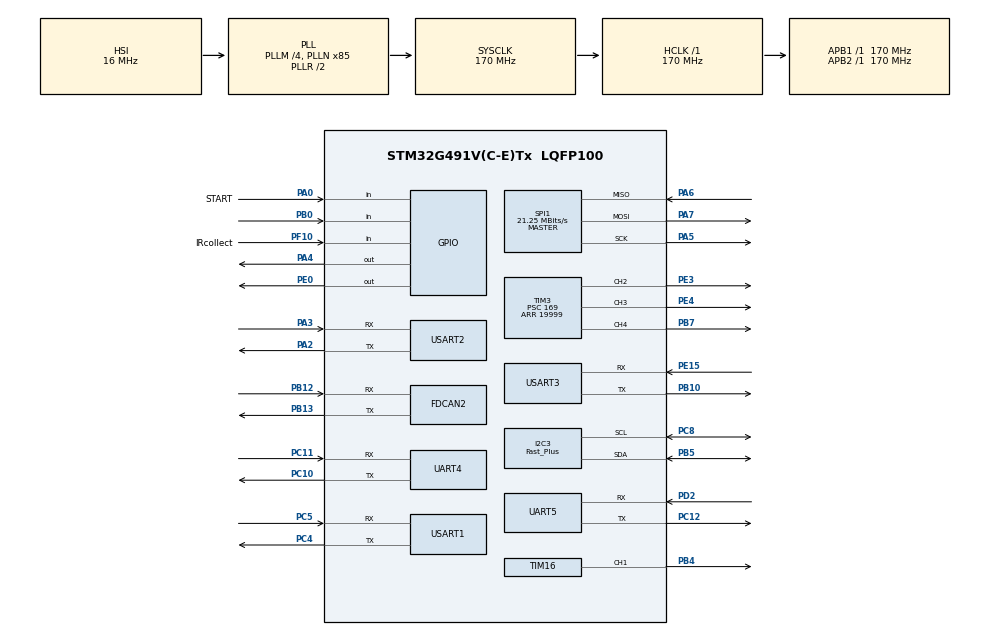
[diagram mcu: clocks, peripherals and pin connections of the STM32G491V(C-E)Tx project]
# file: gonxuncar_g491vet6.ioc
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Dma.I2C3_RX.0.Direction=DMA_PERIPH_TO_MEMORY
Dma.I2C3_RX.0.EventEnable=DISABLE
Dma.I2C3_RX.0.Instance=DMA1_Channel1
Dma.I2C3_RX.0.MemDataAlignment=DMA_MDATAALIGN_BYTE
Dma.I2C3_RX.0.MemInc=DMA_MINC_ENABLE
Dma.I2C3_RX.0.Mode=DMA_NORMAL
Dma.I2C3_RX.0.PeriphDataAlignment=DMA_PDATAALIGN_BYTE
Dma.I2C3_RX.0.PeriphInc=DMA_PINC_DISABLE
Dma.I2C3_RX.0.Polarity=HAL_DMAMUX_REQ_GEN_RISING
Dma.I2C3_RX.0.Priority=DMA_PRIORITY_MEDIUM
Dma.I2C3_RX.0.RequestNumber=1
Dma.I2C3_RX.0.SignalID=NONE
Dma.I2C3_RX.0.SyncEnable=DISABLE
Dma.I2C3_RX.0.SyncPolarity=HAL_DMAMUX_SYNC_NO_EVENT
Dma.I2C3_RX.0.SyncRequestNumber=1
Dma.I2C3_RX.0.SyncSignalID=NONE
Dma.Request0=I2C3_RX
Dma.Request1=USART3_RX
Dma.Request2=USART2_RX
Dma.Request3=USART2_TX
Dma.Request4=UART4_RX
Dma.Request5=TIM16_CH1
Dma.TIM16_CH1.5.Direction=DMA_MEMORY_TO_PERIPH
Dma.TIM16_CH1.5.EventEnable=DISABLE
Dma.TIM16_CH1.5.Instance=DMA1_Channel6
Dma.TIM16_CH1.5.MemDataAlignment=DMA_MDATAALIGN_HALFWORD
Dma.TIM16_CH1.5.MemInc=DMA_MINC_ENABLE
Dma.TIM16_CH1.5.Mode=DMA_NORMAL
Dma.TIM16_CH1.5.PeriphDataAlignment=DMA_PDATAALIGN_HALFWORD
Dma.TIM16_CH1.5.PeriphInc=DMA_PINC_DISABLE
Dma.TIM16_CH1.5.Polarity=HAL_DMAMUX_REQ_GEN_RISING
Dma.TIM16_CH1.5.Priority=DMA_PRIORITY_LOW
Dma.TIM16_CH1.5.RequestNumber=1
Dma.TIM16_CH1.5.SignalID=NONE
Dma.TIM16_CH1.5.SyncEnable=DISABLE
Dma.TIM16_CH1.5.SyncPolarity=HAL_DMAMUX_SYNC_NO_EVENT
Dma.TIM16_CH1.5.SyncRequestNumber=1
Dma.TIM16_CH1.5.SyncSignalID=NONE
Dma.UART4_RX.4.Direction=DMA_PERIPH_TO_MEMORY
Dma.UART4_RX.4.EventEnable=DISABLE
Dma.UART4_RX.4.Instance=DMA1_Channel5
Dma.UART4_RX.4.MemDataAlignment=DMA_MDATAALIGN_BYTE
Dma.UART4_RX.4.MemInc=DMA_MINC_ENABLE
Dma.UART4_RX.4.Mode=DMA_NORMAL
Dma.UART4_RX.4.PeriphDataAlignment=DMA_PDATAALIGN_BYTE
Dma.UART4_RX.4.PeriphInc=DMA_PINC_DISABLE
Dma.UART4_RX.4.Polarity=HAL_DMAMUX_REQ_GEN_RISING
Dma.UART4_RX.4.Priority=DMA_PRIORITY_LOW
Dma.UART4_RX.4.RequestNumber=1
Dma.UART4_RX.4.SignalID=NONE
Dma.UART4_RX.4.SyncEnable=DISABLE
Dma.UART4_RX.4.SyncPolarity=HAL_DMAMUX_SYNC_NO_EVENT
Dma.UART4_RX.4.SyncRequestNumber=1
Dma.UART4_RX.4.SyncSignalID=NONE
Dma.USART2_RX.2.Direction=DMA_PERIPH_TO_MEMORY
Dma.USART2_RX.2.EventEnable=DISABLE
Dma.USART2_RX.2.Instance=DMA1_Channel3
Dma.USART2_RX.2.MemDataAlignment=DMA_MDATAALIGN_BYTE
Dma.USART2_RX.2.MemInc=DMA_MINC_ENABLE
Dma.USART2_RX.2.Mode=DMA_NORMAL
Dma.USART2_RX.2.PeriphDataAlignment=DMA_PDATAALIGN_BYTE
Dma.USART2_RX.2.PeriphInc=DMA_PINC_DISABLE
Dma.USART2_RX.2.Polarity=HAL_DMAMUX_REQ_GEN_RISING
Dma.USART2_RX.2.Priority=DMA_PRIORITY_LOW
Dma.USART2_RX.2.RequestNumber=1
Dma.USART2_RX.2.SignalID=NONE
Dma.USART2_RX.2.SyncEnable=DISABLE
Dma.USART2_RX.2.SyncPolarity=HAL_DMAMUX_SYNC_NO_EVENT
Dma.USART2_RX.2.SyncRequestNumber=1
Dma.USART2_RX.2.SyncSignalID=NONE
Dma.USART2_TX.3.Direction=DMA_MEMORY_TO_PERIPH
Dma.USART2_TX.3.EventEnable=DISABLE
Dma.USART2_TX.3.Instance=DMA1_Channel4
Dma.USART2_TX.3.MemDataAlignment=DMA_MDATAALIGN_BYTE
Dma.USART2_TX.3.MemInc=DMA_MINC_ENABLE
Dma.USART2_TX.3.Mode=DMA_NORMAL
Dma.USART2_TX.3.PeriphDataAlignment=DMA_PDATAALIGN_BYTE
Dma.USART2_TX.3.PeriphInc=DMA_PINC_DISABLE
Dma.USART2_TX.3.Polarity=HAL_DMAMUX_REQ_GEN_RISING
Dma.USART2_TX.3.Priority=DMA_PRIORITY_LOW
Dma.USART2_TX.3.RequestNumber=1
Dma.USART2_TX.3.SignalID=NONE
Dma.USART2_TX.3.SyncEnable=DISABLE
Dma.USART2_TX.3.SyncPolarity=HAL_DMAMUX_SYNC_NO_EVENT
Dma.USART2_TX.3.SyncRequestNumber=1
Dma.USART2_TX.3.SyncSignalID=NONE
Dma.USART3_RX.1.Direction=DMA_PERIPH_TO_MEMORY
Dma.USART3_RX.1.EventEnable=DISABLE
Dma.USART3_RX.1.Instance=DMA1_Channel2
Dma.USART3_RX.1.MemDataAlignment=DMA_MDATAALIGN_BYTE
Dma.USART3_RX.1.MemInc=DMA_MINC_ENABLE
Dma.USART3_RX.1.Mode=DMA_NORMAL
Dma.USART3_RX.1.PeriphDataAlignment=DMA_PDATAALIGN_BYTE
Dma.USART3_RX.1.PeriphInc=DMA_PINC_DISABLE
Dma.USART3_RX.1.Polarity=HAL_DMAMUX_REQ_GEN_RISING
Dma.USART3_RX.1.Priority=DMA_PRIORITY_LOW
Dma.USART3_RX.1.RequestNumber=1
Dma.USART3_RX.1.SignalID=NONE
Dma.USART3_RX.1.SyncEnable=DISABLE
Dma.USART3_RX.1.SyncPolarity=HAL_DMAMUX_SYNC_NO_EVENT
Dma.USART3_RX.1.SyncRequestNumber=1
Dma.USART3_RX.1.SyncSignalID=NONE
FDCAN2.AutoRetransmission=ENABLE
FDCAN2.CalculateBaudRateNominal=500000
FDCAN2.CalculateTimeBitNominal=2000
FDCAN2.CalculateTimeQuantumNominal=100.0
FDCAN2.NominalPrescaler=17
FDCAN2.NominalTimeSeg1=16
FDCAN2.NominalTimeSeg2=3
FREERTOS.Tasks01=defaultTask,24,512,StartDefaultTask,Default,NULL,Dynamic,NULL,NULL
FREERTOS.configTOTAL_HEAP_SIZE=32768
I2C3.I2C_Speed_Mode=I2C_Fast_Plus
I2C3.Speed=400
I2C3.Timing=0x10C310A7
Mcu.Family=STM32G4
Mcu.Name=STM32G491V(C-E)Tx
Mcu.Package=LQFP100
NVIC.DMA1_Channel1_IRQn=true\:5\:0\:false\:false\:true\:true\:false\:true\:true
NVIC.DMA1_Channel2_IRQn=true\:5\:0\:false\:false\:true\:true\:false\:true\:true
NVIC.DMA1_Channel3_IRQn=true\:5\:0\:false\:false\:true\:true\:false\:true\:true
NVIC.DMA1_Channel4_IRQn=true\:5\:0\:false\:false\:true\:true\:false\:true\:true
NVIC.DMA1_Channel5_IRQn=true\:5\:0\:false\:false\:true\:true\:false\:true\:true
NVIC.DMA1_Channel6_IRQn=true\:5\:0\:false\:false\:true\:true\:false\:true\:true
NVIC.FDCAN2_IT0_IRQn=true\:5\:0\:false\:false\:true\:true\:true\:true\:true
NVIC.I2C3_ER_IRQn=true\:5\:0\:false\:false\:true\:true\:true\:true\:true
NVIC.I2C3_EV_IRQn=true\:5\:0\:false\:false\:true\:true\:true\:true\:true
NVIC.PriorityGroup=NVIC_PRIORITYGROUP_4
NVIC.TIM6_DAC_IRQn=true\:15\:0\:false\:false\:true\:false\:false\:true\:true
NVIC.TimeBase=TIM6_DAC_IRQn
NVIC.TimeBaseIP=TIM6
NVIC.UART4_IRQn=true\:5\:0\:false\:false\:true\:true\:true\:true\:true
NVIC.UART5_IRQn=true\:5\:0\:false\:false\:true\:true\:true\:true\:true
NVIC.USART1_IRQn=true\:5\:0\:false\:false\:true\:true\:true\:true\:true
NVIC.USART2_IRQn=true\:5\:0\:false\:false\:true\:true\:true\:true\:true
NVIC.USART3_IRQn=true\:5\:0\:false\:false\:true\:true\:true\:true\:true
PA0.GPIO_Label=START
PA0.Signal=GPIO_Input
PA13.Mode=Serial_Wire
PA13.Signal=SYS_JTMS-SWDIO
PA14.Mode=Serial_Wire
PA14.Signal=SYS_JTCK-SWCLK
PA3.Mode=Asynchronous
PA3.Signal=USART2_RX
PA4.GPIO_Speed=GPIO_SPEED_FREQ_VERY_HIGH
PA4.PinState=GPIO_PIN_SET
PA4.Signal=GPIO_Output
PA5.Mode=Full_Duplex_Master
PA5.Signal=SPI1_SCK
PA6.Mode=Full_Duplex_Master
PA6.Signal=SPI1_MISO
PA7.Mode=Full_Duplex_Master
PA7.Signal=SPI1_MOSI
PB0.GPIO_PuPd=GPIO_NOPULL
PB0.Signal=GPIO_Input
PB10.Mode=Asynchronous
PB10.Signal=USART3_TX
PB12.Mode=FDCAN_Activate
PB12.Signal=FDCAN2_RX
PB13.Mode=FDCAN_Activate
PB13.Signal=FDCAN2_TX
PB4.GPIO_Speed=GPIO_SPEED_FREQ_HIGH
PB4.Signal=S_TIM16_CH1
PB5.Mode=I2C
PB5.Signal=I2C3_SDA
PB7.Signal=S_TIM3_CH4
PC10.Mode=Asynchronous
PC10.Signal=UART4_TX
PC11.Mode=Asynchronous
PC11.Signal=UART4_RX
PC12.Mode=Asynchronous
PC12.Signal=UART5_TX
PC14-OSC32_IN.Mode=LSE-External-Oscillator
PC14-OSC32_IN.Signal=RCC_OSC32_IN
PC15-OSC32_OUT.Mode=LSE-External-Oscillator
PC15-OSC32_OUT.Signal=RCC_OSC32_OUT
PC4.Mode=Asynchronous
PC4.Signal=USART1_TX
PC5.Mode=Asynchronous
PC5.Signal=USART1_RX
PC8.Mode=I2C
PC8.Signal=I2C3_SCL
PD2.Mode=Asynchronous
PD2.Signal=UART5_RX
PA2.Mode=Asynchronous
PA2.Signal=USART2_TX
PE3.Signal=S_TIM3_CH2
PE4.Signal=S_TIM3_CH3
PE0.PinState=GPIO_PIN_SET
PE0.Signal=GPIO_Output
PE15.Mode=Asynchronous
PE15.Signal=USART3_RX
PF10.GPIO_Label=IRcollect
PF10.Signal=GPIO_Input
PF10.Stacked=true
ProjectManager.HeapSize=0x200
ProjectManager.StackSize=0x400
ProjectManager.TargetToolchain=EWARM V8.50
RCC.ADC12Freq_Value=170000000
RCC.ADC345Freq_Value=170000000
RCC.AHBFreq_Value=170000000
RCC.APB1Freq_Value=170000000
RCC.APB1TimFreq_Value=170000000
RCC.APB2Freq_Value=170000000
RCC.APB2TimFreq_Value=170000000
RCC.CortexFreq_Value=170000000
RCC.EXTERNAL_CLOCK_VALUE=12288000
RCC.HCLKFreq_Value=170000000
RCC.HSE_VALUE=8000000
RCC.HSI48_VALUE=48000000
RCC.HSI_VALUE=16000000
RCC.PLLM=RCC_PLLM_DIV4
RCC.PLLN=85
RCC.SYSCLKFreq_VALUE=170000000
RCC.SYSCLKSource=RCC_SYSCLKSOURCE_PLLCLK
RCC.VCOOutputFreq_Value=340000000
SH.S_TIM16_CH1.0=TIM16_CH1,PWM Generation1 CH1
SH.S_TIM3_CH2.0=TIM3_CH2,PWM Generation2 CH2
SH.S_TIM3_CH3.0=TIM3_CH3,PWM Generation3 CH3
SH.S_TIM3_CH4.0=TIM3_CH4,PWM Generation4 CH4
SPI1.BaudRatePrescaler=SPI_BAUDRATEPRESCALER_8
SPI1.CalculateBaudRate=21.25 MBits/s
SPI1.DataSize=SPI_DATASIZE_8BIT
SPI1.Direction=SPI_DIRECTION_2LINES
SPI1.Mode=SPI_MODE_MASTER
SPI1.NSSPMode=SPI_NSS_PULSE_ENABLE
SPI1.VirtualType=VM_MASTER
TIM16.Channel=TIM_CHANNEL_1
TIM16.PeriodNoDither=212
TIM3.AutoReloadPreload=TIM_AUTORELOAD_PRELOAD_ENABLE
TIM3.Channel-PWM\ Generation2\ CH2=TIM_CHANNEL_2
TIM3.Channel-PWM\ Generation3\ CH3=TIM_CHANNEL_3
TIM3.Channel-PWM\ Generation4\ CH4=TIM_CHANNEL_4
TIM3.PeriodNoDither=19999
TIM3.Prescaler=169
USART1.VirtualMode-Asynchronous=VM_ASYNC
USART2.VirtualMode-Asynchronous=VM_ASYNC
USART3.VirtualMode-Asynchronous=VM_ASYNC
VP_FREERTOS_VS_CMSIS_V2.Mode=CMSIS_V2
VP_SYS_VS_DBSignals.Mode=DisableDeadBatterySignals
VP_SYS_VS_tim6.Mode=TIM6
VP_TIM16_VS_ClockSourceINT.Mode=Enable_Timer
VP_TIM3_VS_ClockSourceINT.Mode=Internal
board=custom

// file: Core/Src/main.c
/* USER CODE BEGIN Header */
/**
  ******************************************************************************
  * @file           : main.c
  * @brief          : Main program body
  ******************************************************************************
  * @attention
  *
  * Copyright (c) 2026 STMicroelectronics.
  * All rights reserved.
  *
  * This software is licensed under terms that can be found in the LICENSE file
  * in the root directory of this software component.
  * If no LICENSE file comes with this software, it is provided AS-IS.
  *
  ******************************************************************************
  */
/* USER CODE END Header */
#include "main.h"
#include "cmsis_os.h"
#include "dma.h"
#include "fdcan.h"
#include "i2c.h"
#include "spi.h"
#include "tim.h"
#include "usart.h"
#include "gpio.h"

/* USER CODE BEGIN Includes */

#include <stdio.h>

#include "emm_5v.h"
#include "hwt_imu.h"

/* USER CODE END Includes */

void SystemClock_Config(void);
void MX_FREERTOS_Init(void);

int main(void)
{

  /* MCU Configuration--------------------------------------------------------*/

  /* Reset of all peripherals, Initializes the Flash interface and the Systick. */
  HAL_Init();

  /* Configure the system clock */
  SystemClock_Config();

  /* Initialize all configured peripherals */
  MX_GPIO_Init();
  MX_DMA_Init();
  MX_FDCAN2_Init();
  MX_SPI1_Init();
  MX_TIM3_Init();
  MX_UART4_Init();
  MX_UART5_Init();
  MX_USART1_UART_Init();
  MX_USART2_UART_Init();
  MX_USART3_UART_Init();
  MX_I2C3_Init();
  MX_TIM16_Init();
  /* USER CODE BEGIN 2 */

  HWT_IMU_Init();       /* HWT906: 探测在线并把当前航向设为零点 */
  fdcan2_UserInit();    /* FDCAN2 底盘 + 机械臂 */

  /* USER CODE END 2 */

  /* Init scheduler */
  osKernelInitialize();  /* Call init function for freertos objects (in cmsis_os2.c) */
  MX_FREERTOS_Init();

  /* Start scheduler */
  osKernelStart();

  /* We should never get here as control is now taken by the scheduler */

  /* Infinite loop */
  while (1)
  {

  }
}

void SystemClock_Config(void)
{
  RCC_OscInitTypeDef RCC_OscInitStruct = {0};
  RCC_ClkInitTypeDef RCC_ClkInitStruct = {0};

  /** Configure the main internal regulator output voltage
  */
  HAL_PWREx_ControlVoltageScaling(PWR_REGULATOR_VOLTAGE_SCALE1_BOOST);

  /** Initializes the RCC Oscillators according to the specified parameters
  * in the RCC_OscInitTypeDef structure.
  */
  RCC_OscInitStruct.OscillatorType = RCC_OSCILLATORTYPE_HSI;
  RCC_OscInitStruct.HSIState = RCC_HSI_ON;
  RCC_OscInitStruct.HSICalibrationValue = RCC_HSICALIBRATION_DEFAULT;
  RCC_OscInitStruct.PLL.PLLState = RCC_PLL_ON;
  RCC_OscInitStruct.PLL.PLLSource = RCC_PLLSOURCE_HSI;
  RCC_OscInitStruct.PLL.PLLM = RCC_PLLM_DIV4;
  RCC_OscInitStruct.PLL.PLLN = 85;
  RCC_OscInitStruct.PLL.PLLP = RCC_PLLP_DIV2;
  RCC_OscInitStruct.PLL.PLLQ = RCC_PLLQ_DIV2;
  RCC_OscInitStruct.PLL.PLLR = RCC_PLLR_DIV2;
  if (HAL_RCC_OscConfig(&RCC_OscInitStruct) != HAL_OK)
  {
    Error_Handler();
  }

  /** Initializes the CPU, AHB and APB buses clocks
  */
  RCC_ClkInitStruct.ClockType = RCC_CLOCKTYPE_HCLK|RCC_CLOCKTYPE_SYSCLK
                              |RCC_CLOCKTYPE_PCLK1|RCC_CLOCKTYPE_PCLK2;
  RCC_ClkInitStruct.SYSCLKSource = RCC_SYSCLKSOURCE_PLLCLK;
  RCC_ClkInitStruct.AHBCLKDivider = RCC_SYSCLK_DIV1;
  RCC_ClkInitStruct.APB1CLKDivider = RCC_HCLK_DIV1;
  RCC_ClkInitStruct.APB2CLKDivider = RCC_HCLK_DIV1;

  if (HAL_RCC_ClockConfig(&RCC_ClkInitStruct, FLASH_LATENCY_4) != HAL_OK)
  {
    Error_Handler();
  }
}

/* USER CODE BEGIN 4 */

int __io_putchar(int ch)
{
  HAL_UART_Transmit(&huart2, (uint8_t *)&ch, 1, 1000);
  return ch;
}

/* 保留给 Keil/IAR 工程用。 */
int fputc(int ch, FILE *f)
{
  (void)f;
  HAL_UART_Transmit(&huart2, (uint8_t *)&ch, 1, 1000);
  return ch;
}
/* USER CODE END 4 */

void HAL_TIM_PeriodElapsedCallback(TIM_HandleTypeDef *htim)
{
  if (htim->Instance == TIM6)
  {
    HAL_IncTick();
  }
  /* USER CODE BEGIN Callback 1 */
  if (htim->Instance == TIM7)
  {
    /* V1.33.0: 航向环步进已搬进 Nav_GoToWorld() 的循环(与下发同拍), TIM7
     * 不再需要 —— main.c 里的 HAL_TIM_Base_Start_IT(&htim7) 也已停掉, 本
     * 分支不会再进来。
     * 要回退到中断步进: 放开下面这行 + 恢复 main() 里的 Start_IT。
     *   Angle_Step(); */
  }
  /* USER CODE END Callback 1 */
}

void Error_Handler(void)
{
  __disable_irq();
  while (1)
  {
  }
}

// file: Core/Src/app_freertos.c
/* USER CODE BEGIN Header */
/**
  ******************************************************************************
  * File Name          : app_freertos.c
  * Description        : FreeRTOS applications
  ******************************************************************************
  * @attention
  *
  * Copyright (c) 2026 STMicroelectronics.
  * All rights reserved.
  *
  * This software is licensed under terms that can be found in the LICENSE file
  * in the root directory of this software component.
  * If no LICENSE file comes with this software, it is provided AS-IS.
  *
  ******************************************************************************
  */
/* USER CODE END Header */

#include "FreeRTOS.h"
#include "task.h"
#include "main.h"
#include "cmsis_os.h"

/* USER CODE BEGIN Includes */
#include "app_tasks.h"
#include "emm_5v.h"
/* USER CODE END Includes */

/* Definitions for defaultTask */
osThreadId_t defaultTaskHandle;
const osThreadAttr_t defaultTask_attributes = {
  .name = "defaultTask",
  .priority = (osPriority_t) osPriorityLow,
  .stack_size = 512 * 4
};

/* USER CODE BEGIN Variables2 */
osThreadId_t appTaskHandle;
const osThreadAttr_t appTask_attributes = {
  .name = "APP_TASK",
  .priority = (osPriority_t) osPriorityNormal,
  .stack_size = 4096
};

osThreadId_t imuTaskHandle;
const osThreadAttr_t imuTask_attributes = {
  .name = "IMU_TASK",
  .priority = (osPriority_t) osPriorityHigh,
  .stack_size = 1024
};
/* USER CODE END Variables2 */

void StartDefaultTask(void *argument);

void MX_FREERTOS_Init(void);

void MX_FREERTOS_Init(void)
{

  /* creation of defaultTask */
  defaultTaskHandle = osThreadNew(StartDefaultTask, NULL, &defaultTask_attributes);

  /* USER CODE BEGIN RTOS_THREADS */
  appTaskHandle = osThreadNew(APP_Task, NULL, &appTask_attributes);
  imuTaskHandle = osThreadNew(IMU_Task, NULL, &imuTask_attributes);
  /* USER CODE END RTOS_THREADS */

}

void StartDefaultTask(void *argument)
{
  /* USER CODE BEGIN StartDefaultTask */

  /* 使能 6 个 EMM 电机（1~4 底盘，5/6 机械臂）。 */
  for (uint8_t id = 1U; id <= 6U; id++) {
    Emm_V5_En_Control(id, 1, 0);
  }

  for (;;) {
    osDelay(1000U);
  }
  /* USER CODE END StartDefaultTask */
}

/* USER CODE BEGIN Application */

void vApplicationStackOverflowHook(TaskHandle_t xTask, char *pcTaskName)
{
  (void)xTask;
  taskDISABLE_INTERRUPTS();
  for (;;) {
    __NOP();
  }
}

/* USER CODE END Application */
